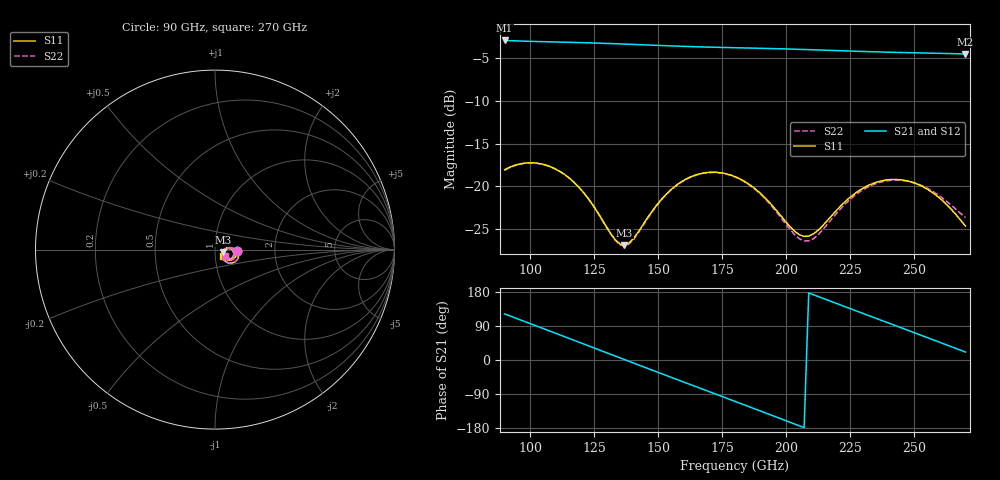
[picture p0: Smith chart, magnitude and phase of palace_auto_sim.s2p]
#  GHZ S DB R 50
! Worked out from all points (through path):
!   101 points, 90 GHz to 270 GHz, reference 50 ohm
!   highest |S21| = -2.89 dB at 90 GHz (marker M1); lowest = -4.5 dB at 270 GHz (marker M2)
!   group delay of S21, straight-line fit = 7.11 ps
!   lowest |S11| = -26.9 dB at 136.8 GHz (marker M3), VSWR 1.09, Z = 54.5 - j1.52 ohm
!   |S11| at or under -10 dB: start of sweep to end of sweep
!   |S22| runs from -27.0 to -17.3 dB; largest |S21 - S12| = 7.9e-14
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90  -18.08 -3.1  -2.89 121.5  -2.89 121.5  -18.12 -3.1
97.2  -17.32 -14.3  -2.96 103.1  -2.96 103.1  -17.34 -14.4
104.4  -17.39 -26.1  -3.02 84.7  -3.02 84.7  -17.40 -26.2
111.6  -18.27 -37.3  -3.08 66.2  -3.08 66.2  -18.28 -37.5
120.6  -20.66 -47.6  -3.15 43.0  -3.15 43.0  -20.68 -47.9
129.6  -24.68 -44.4  -3.23 19.7  -3.23 19.7  -24.73 -45.0
136.8  -26.92 -18.0  -3.31 1.1  -3.31 1.1  -27.05 -18.4
144  -24.56 6.1  -3.39 -17.4  -3.39 -17.4  -24.66 6.2
151.2  -21.57 8.8  -3.48 -35.8  -3.48 -35.8  -21.63 8.9
165.6  -18.60 -7.5  -3.63 -72.5  -3.63 -72.5  -18.63 -7.6
172.8  -18.37 -18.3  -3.69 -90.8  -3.69 -90.8  -18.40 -18.5
180  -18.88 -28.7  -3.74 -109.2  -3.74 -109.2  -18.92 -29.1
187.2  -20.15 -37.2  -3.79 -127.6  -3.79 -127.6  -20.22 -37.9
196.2  -22.86 -40.8  -3.85 -150.7  -3.85 -150.7  -23.03 -42.0
205.2  -25.71 -25.6  -3.93 -173.8  -3.93 -173.8  -26.19 -26.3
210.6  -25.62 -8.9  -3.98 172.3  -3.98 172.3  -26.18 -7.7
217.8  -23.45 3.4  -4.06 153.9  -4.06 153.9  -23.84 6.1
226.8  -20.87 1.4  -4.15 131.0  -4.15 131.0  -21.09 4.6
241.2  -19.21 -16.0  -4.27 94.4  -4.27 94.4  -19.30 -12.0
253.8  -20.13 -33.1  -4.36 62.4  -4.36 62.4  -20.05 -27.4
262.8  -22.20 -41.1  -4.42 39.4  -4.42 39.4  -21.81 -33.5
270  -24.68 -39.6  -4.47 21.0  -4.47 21.0  -23.69 -30.9
